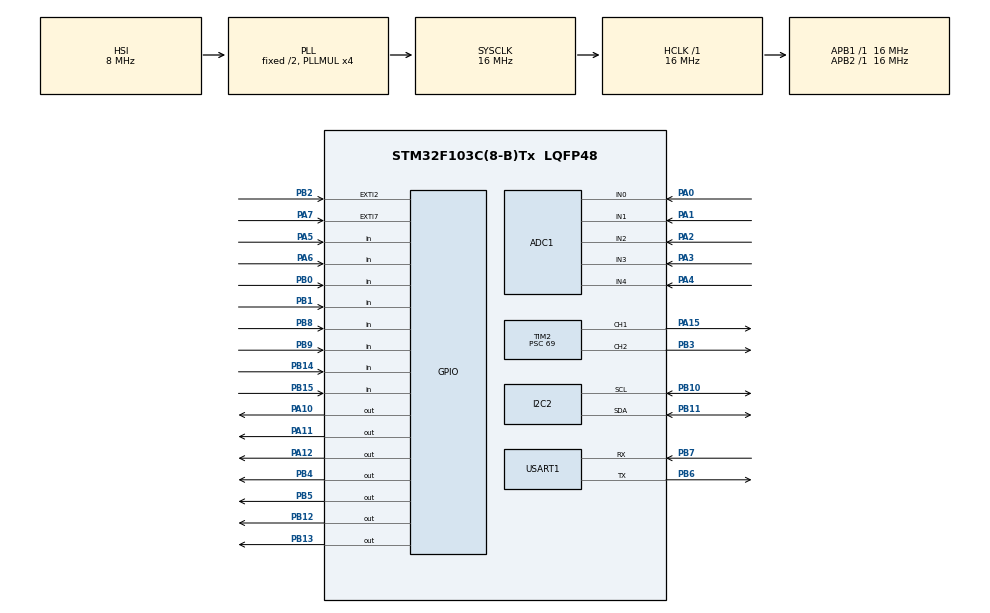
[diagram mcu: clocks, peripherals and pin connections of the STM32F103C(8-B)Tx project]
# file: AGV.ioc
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ADC1.Channel-0\#ChannelRegularConversion=ADC_CHANNEL_0
ADC1.Channel-1\#ChannelRegularConversion=ADC_CHANNEL_1
ADC1.Channel-2\#ChannelRegularConversion=ADC_CHANNEL_2
ADC1.Channel-3\#ChannelRegularConversion=ADC_CHANNEL_3
ADC1.Channel-4\#ChannelRegularConversion=ADC_CHANNEL_4
ADC1.ContinuousConvMode=ENABLE
ADC1.NbrOfConversion=5
ADC1.NbrOfConversionFlag=1
ADC1.Rank-0\#ChannelRegularConversion=1
ADC1.Rank-1\#ChannelRegularConversion=2
ADC1.Rank-2\#ChannelRegularConversion=3
ADC1.Rank-3\#ChannelRegularConversion=4
ADC1.Rank-4\#ChannelRegularConversion=5
ADC1.SamplingTime-0\#ChannelRegularConversion=ADC_SAMPLETIME_239CYCLES_5
ADC1.SamplingTime-1\#ChannelRegularConversion=ADC_SAMPLETIME_239CYCLES_5
ADC1.SamplingTime-2\#ChannelRegularConversion=ADC_SAMPLETIME_239CYCLES_5
ADC1.SamplingTime-3\#ChannelRegularConversion=ADC_SAMPLETIME_239CYCLES_5
ADC1.SamplingTime-4\#ChannelRegularConversion=ADC_SAMPLETIME_239CYCLES_5
ADC1.master=1
Dma.ADC1.0.Direction=DMA_PERIPH_TO_MEMORY
Dma.ADC1.0.Instance=DMA1_Channel1
Dma.ADC1.0.MemDataAlignment=DMA_MDATAALIGN_HALFWORD
Dma.ADC1.0.MemInc=DMA_MINC_ENABLE
Dma.ADC1.0.Mode=DMA_CIRCULAR
Dma.ADC1.0.PeriphDataAlignment=DMA_PDATAALIGN_HALFWORD
Dma.ADC1.0.PeriphInc=DMA_PINC_DISABLE
Dma.ADC1.0.Priority=DMA_PRIORITY_LOW
Dma.Request0=ADC1
Mcu.Family=STM32F1
Mcu.Name=STM32F103C(8-B)Tx
Mcu.Package=LQFP48
NVIC.DMA1_Channel1_IRQn=true\:0\:0\:false\:false\:true\:false\:true\:true
NVIC.EXTI2_IRQn=true\:0\:0\:false\:false\:true\:true\:true\:true
NVIC.EXTI9_5_IRQn=true\:0\:0\:false\:false\:true\:true\:true\:true
NVIC.PriorityGroup=NVIC_PRIORITYGROUP_4
NVIC.USART1_IRQn=true\:0\:0\:false\:false\:true\:true\:true\:true
PA0-WKUP.Signal=ADCx_IN0
PA1.Signal=ADCx_IN1
PA10.GPIO_PuPd=GPIO_PULLDOWN
PA10.Signal=GPIO_Output
PA11.GPIO_PuPd=GPIO_PULLDOWN
PA11.Signal=GPIO_Output
PA12.GPIO_PuPd=GPIO_PULLDOWN
PA12.Signal=GPIO_Output
PA13.Mode=Serial_Wire
PA13.Signal=SYS_JTMS-SWDIO
PA14.Mode=Serial_Wire
PA14.Signal=SYS_JTCK-SWCLK
PA15.Signal=S_TIM2_CH1_ETR
PA2.Signal=ADCx_IN2
PA3.Signal=ADCx_IN3
PA4.Signal=ADCx_IN4
PA5.GPIO_PuPd=GPIO_PULLDOWN
PA5.Signal=GPIO_Input
PA6.GPIO_PuPd=GPIO_PULLDOWN
PA6.Signal=GPIO_Input
PA7.GPIO_PuPd=GPIO_PULLDOWN
PA7.Signal=GPXTI7
PB0.GPIO_PuPd=GPIO_PULLDOWN
PB0.Signal=GPIO_Input
PB1.GPIO_PuPd=GPIO_PULLDOWN
PB1.Signal=GPIO_Input
PB10.Mode=I2C
PB10.Signal=I2C2_SCL
PB11.Mode=I2C
PB11.Signal=I2C2_SDA
PB12.GPIO_PuPd=GPIO_PULLUP
PB12.Signal=GPIO_Output
PB13.GPIO_ModeDefaultOutputPP=GPIO_MODE_OUTPUT_PP
PB13.GPIO_PuPd=GPIO_PULLUP
PB13.PinState=GPIO_PIN_RESET
PB13.Signal=GPIO_Output
PB14.GPIO_PuPd=GPIO_PULLDOWN
PB14.Signal=GPIO_Input
PB15.GPIO_PuPd=GPIO_PULLDOWN
PB15.Signal=GPIO_Input
PB2.GPIO_PuPd=GPIO_PULLDOWN
PB2.Signal=GPXTI2
PB3.Signal=S_TIM2_CH2
PB4.GPIO_PuPd=GPIO_PULLDOWN
PB4.Signal=GPIO_Output
PB5.GPIO_PuPd=GPIO_PULLDOWN
PB5.Signal=GPIO_Output
PB6.Mode=Asynchronous
PB6.Signal=USART1_TX
PB7.Mode=Asynchronous
PB7.Signal=USART1_RX
PB8.GPIO_PuPd=GPIO_PULLDOWN
PB8.Signal=GPIO_Input
PB9.GPIO_PuPd=GPIO_PULLDOWN
PB9.Signal=GPIO_Input
ProjectManager.HeapSize=0x200
ProjectManager.StackSize=0x400
ProjectManager.TargetToolchain=MDK-ARM V5.32
RCC.AHBFreq_Value=16000000
RCC.APB1Freq_Value=16000000
RCC.APB1TimFreq_Value=16000000
RCC.APB2Freq_Value=16000000
RCC.APB2TimFreq_Value=16000000
RCC.HCLKFreq_Value=16000000
RCC.PLLMUL=RCC_PLL_MUL4
RCC.SYSCLKFreq_VALUE=16000000
RCC.SYSCLKSource=RCC_SYSCLKSOURCE_PLLCLK
RCC.USBFreq_Value=16000000
SH.ADCx_IN0.0=ADC1_IN0,IN0
SH.ADCx_IN1.0=ADC1_IN1,IN1
SH.ADCx_IN2.0=ADC1_IN2,IN2
SH.ADCx_IN3.0=ADC1_IN3,IN3
SH.ADCx_IN4.0=ADC1_IN4,IN4
SH.S_TIM2_CH1_ETR.0=TIM2_CH1,PWM Generation1 CH1
SH.S_TIM2_CH2.0=TIM2_CH2,PWM Generation2 CH2
TIM2.Channel-PWM\ Generation1\ CH1=TIM_CHANNEL_1
TIM2.Channel-PWM\ Generation2\ CH2=TIM_CHANNEL_2
TIM2.Period=9999
TIM2.Prescaler=69
USART1.VirtualMode=VM_ASYNC
VP_TIM2_VS_ClockSourceINT.Mode=Internal
board=custom

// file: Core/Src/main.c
/* USER CODE BEGIN Header */
/**
  ******************************************************************************
  * @file           : main.c
  * @brief          : Main program body
  ******************************************************************************
  * @attention
  *
  * Copyright (c) 2024 STMicroelectronics.
  * All rights reserved.
  *
  * This software is licensed under terms that can be found in the LICENSE file
  * in the root directory of this software component.
  * If no LICENSE file comes with this software, it is provided AS-IS.
  *
  ******************************************************************************
  */
/* USER CODE END Header */
#include "main.h"

/* USER CODE BEGIN Includes */
#include "math.h"
#include "lcd.h"
/* USER CODE END Includes */

/* USER CODE BEGIN PTD */
typedef enum {AUTO = 0, NONE_AUTO_REMOTE, NONE_AUTO_WEB, STOP} state_t;
typedef enum {MOVE = 0, PROCESS} state_moving_t;
typedef enum {PASS_START = 0, LEFT_START} state_start_t;
typedef enum {START = 0, PICK_UP, SHIP, COME_BACK, COME_HOME} state_process_t;
typedef enum {PRE_UP = 0, WAIT_UP, OPERATE, WAIT_DONE_PICK, DONE_PICK} state_pick_t;
typedef enum {PROCESS_SHIP = 0, GO_SHIP, PUT_DOWN, DONE_SHIP} state_ship_t;
typedef enum {PROCESS_GO = 0, WAIT_CROSS} state_go_t;
typedef enum {PRE_DOWN = 0, WAIT_ROBOT, PROCESS_PUT_DOWN, DONE_PUT_DOWN} state_put_down_t;
typedef enum {PRE_CB = 0, GO_CB, DONE_CB} state_comeback_t;
typedef enum {PRE_CH = 0, GO_HOME, LEFT_CH, WAIT_DONE_CH, DONE_CH} state_come_home_t;
typedef enum {PRE_STOP = 0, CHECK_OUT, WAIT_OUT} state_stop_t;

typedef enum {CHECK_SIGN_LEFT = 0, PASS_LEFT_1, TURN_LEFT, PASS_LEFT_2} state_turn_left_intersection_t;
typedef enum {CHECK_SIGN_RIGHT = 0, TURN_RIGHT} state_turn_right_intersection_t;
typedef enum {CHECK_SIGN_CROSS = 0, PASS_CROSS_1, PASS_CROSS_2} state_cross_intersection_t;
typedef enum {CHECK_SIGN_BACK = 0, PASS_BACK_1, TURN_LEFT_1, TURN_LEFT_2, PASS_BACK_2} state_back_intersection_t;

typedef enum {PS1 = 0, TS1, RS1, RS2, PS2, TS2, RS3, RS4} list_station_t;
typedef enum {UP = 0, DOWN, LEFT, RIGHT, PAUSE} direct_t;

typedef enum {reset = 0, set} bool_t;

typedef struct{
	uint8_t goods_position[4];
	uint8_t goods_quantity;
	uint8_t goods_tmp;
	list_station_t goods_list[4];
	bool_t goods_side[4];
	bool_t goods_station[2];
} goods_infor_t;

typedef struct{
	uint8_t agv_position;
	uint8_t agv_side;
	direct_t agv_direct;
	direct_t agv_next_step_go;
	volatile bool_t agv_power;
} AGV_infor_t;

/* USER CODE END PTD */

/* USER CODE BEGIN PD */
#define line_sensor 	35
#define i_axis				5
#define j_axis				5
#define GPIO_SET_PIN(GPIOx, GPIO_Pin_x) (GPIOx -> ODR |= GPIO_Pin_x)
#define GPIO_RESET_PIN(GPIOx, GPIO_Pin_x) (GPIOx -> ODR &= ~GPIO_Pin_x)

/* USER CODE END PD */

ADC_HandleTypeDef hadc1;
DMA_HandleTypeDef hdma_adc1;

I2C_HandleTypeDef hi2c2;

TIM_HandleTypeDef htim2;

UART_HandleTypeDef huart1;

/* USER CODE BEGIN PV */
uint16_t distance_tmp;
volatile uint32_t systick_count;
volatile state_t state;
state_moving_t state_moving;
state_stop_t state_stop;
state_process_t process_state;
state_pick_t pick_state;
state_ship_t ship_state;
state_go_t state_go;
state_put_down_t state_put_down;
state_start_t start;
state_comeback_t state_comeback;
volatile state_come_home_t state_come_home;

state_cross_intersection_t cross_interection_state = CHECK_SIGN_CROSS;
state_turn_left_intersection_t turn_left_interection_state = CHECK_SIGN_LEFT;
state_turn_right_intersection_t turn_right_interection_state = CHECK_SIGN_RIGHT;
state_back_intersection_t state_back_intersection = CHECK_SIGN_BACK;

volatile bool_t robot;

goods_infor_t goods_infor;
AGV_infor_t	agv_infor;

uint8_t Rx;
uint8_t Tx;
direct_t direct;

uint16_t data[5], data_max[5], data_min[5]; // gia tri mau tu
uint16_t sensor[5]; // gia tri doc mau tu
uint8_t check[5];	// gia tri kiem tra mau tu

uint8_t tmp_check;

/* USER CODE END PV */

void SystemClock_Config(void);
static void MX_GPIO_Init(void);
static void MX_DMA_Init(void);
static void MX_ADC1_Init(void);
static void MX_TIM2_Init(void);
static void MX_I2C2_Init(void);
static void MX_USART1_UART_Init(void);
/* USER CODE BEGIN PFP */

void V_Go_Straight(void);
void V_Go_Back(void);
void V_Turn_Left(void);
void V_Turn_Right(void);
void V_Control_Remote(void);
void V_Control_Web(void);

uint8_t V_Check_Sensor_Init(void);
void V_Sensor_Init(void);
uint8_t V_Check_Sensor(void);

void V_Start(void);
void V_Pick_Up(void);
void V_Ship(void);
void V_Come_Back(void);
void V_Come_Home(void);

void V_Put_Down(void);

void V_Analysis_Goods_List(bool_t v_goods_side[4], uint8_t v_goods_position[4], list_station_t v_goods_list[4]);

void V_Cross_the_Intersection(void);
void V_Turn_Left_at_the_Intersection(void);
void V_Turn_Right_at_the_Intersection(void);
void V_Turn_Back_at_the_Intersection(void);

void V_Determine_Next_Step(void);
uint16_t V_Determine_Distance(uint8_t xo, uint8_t yo, uint8_t x1, uint8_t y1, direct_t v_direct);
void V_Remove_Duplicate(list_station_t v_goods_list[4],  uint8_t* goods_quantity);
void V_Remove_First_Goods(list_station_t v_goods_list[4],  uint8_t goods_quantity);
void V_GO(void);

/* USER CODE END PFP */

int main(void)
{

  /* MCU Configuration--------------------------------------------------------*/

  /* Reset of all peripherals, Initializes the Flash interface and the Systick. */
  HAL_Init();

  /* Configure the system clock */
  SystemClock_Config();

  /* Initialize all configured peripherals */
  MX_GPIO_Init();
  MX_DMA_Init();
  MX_ADC1_Init();
  MX_TIM2_Init();
  MX_I2C2_Init();
  MX_USART1_UART_Init();
  /* USER CODE BEGIN 2 */
	state = AUTO;
	state_moving = MOVE;
	state_stop = PRE_STOP;
	process_state = START;
	pick_state = PRE_UP;
	ship_state = PROCESS_SHIP;
	state_go = PROCESS_GO;
	state_put_down = PRE_DOWN;
	start = PASS_START;
	robot = set;
	agv_infor.agv_power = reset;
	state_comeback = PRE_CB;
	state_come_home = PRE_CH;
	goods_infor.goods_station[0] = set;
	goods_infor.goods_station[1] = set;

	cross_interection_state = CHECK_SIGN_CROSS;
	turn_left_interection_state = CHECK_SIGN_LEFT;
	turn_right_interection_state = CHECK_SIGN_RIGHT;
	V_Go_Straight();
	HAL_TIM_PWM_Start(&htim2, TIM_CHANNEL_1);
	HAL_TIM_PWM_Start(&htim2, TIM_CHANNEL_2);
	Lcd_Init();

	HAL_UART_Receive_IT(&huart1, &Rx, 1);
	Tx = '0';
	HAL_UART_Transmit(&huart1, &Tx, 1, 100);
	while(agv_infor.agv_power != set){}
	Tx = '1';
	HAL_UART_Transmit(&huart1, &Tx, 1, 100);
	do
	{
		Lcd_Send_String_XY(1, 4, "Sampling!");
		Lcd_Goto_XY(2,1);
		Lcd_Send_String("Wait, Please!");
		V_Sensor_Init();
	}
	while(V_Check_Sensor_Init());
	htim2.Instance -> CCR1 = 8771;
	htim2.Instance -> CCR2 = 8888;
	Tx = '2';
	HAL_UART_Transmit(&huart1, &Tx, 1, 100);
	Lcd_Send_String_XY(1, 3, "GOING TO TS1");
	HAL_Delay(500);
  /* USER CODE END 2 */

  /* Infinite loop */
  while (1)
  {

    /* USER CODE BEGIN 3 */
		switch(state)
		{
			case AUTO:
			{
				switch(state_moving)
				{
					case MOVE:
					{
						HAL_ADC_Start_DMA(&hadc1, (uint32_t *)data, 5);
						HAL_Delay(1);
						HAL_ADC_Stop_DMA(&hadc1);
						switch(V_Check_Sensor())
						{
							case 0:
								htim2.Instance -> CCR1 = 9868;	//AGV1			//AGV1: val1:val2 = 9868:9999
								htim2.Instance -> CCR2 = 9999;
								break;
							case 1:
								htim2.Instance -> CCR1 = 9868;	//AGV2
								htim2.Instance -> CCR2 = 8888;
								break;
							case 2:
								htim2.Instance -> CCR1 = 9868;	//AGV2
								htim2.Instance -> CCR2 = 5555;
								break;
							case 3:
								htim2.Instance -> CCR1 = 9868;	//AGV2
								htim2.Instance -> CCR2 = 3333;
								break;
							case 4:
								htim2.Instance -> CCR1 = 9868;	//AGV2
								htim2.Instance -> CCR2 = 1666;
								break;
							case 5:
								htim2.Instance -> CCR1 = 8771;	//AGV2
								htim2.Instance -> CCR2 = 9999;
								break;
							case 6:
								htim2.Instance -> CCR1 = 5482;	//AGV2
								htim2.Instance -> CCR2 = 9999;
								break;
							case 7:
								htim2.Instance -> CCR1 = 3289;	//AGV2
								htim2.Instance -> CCR2 = 9999;
								break;
							case 8:
								htim2.Instance -> CCR1 = 1644;	//AGV2
								htim2.Instance -> CCR2 = 9999;
								break;
							case 9:
								state_moving = PROCESS;
								break;
						}
						break;
					}
					case PROCESS:
					{
						switch (process_state)
						{
							case START:
								V_Start();
								break;
							case PICK_UP:
								V_Pick_Up();
								break;
							case SHIP:
								V_Ship();
									break;
							case COME_BACK:
								V_Come_Back();
								break;
							case COME_HOME:
								V_Come_Home();
						}
						break;
					}
				}
				break;
			}
			case NONE_AUTO_REMOTE:
				V_Control_Remote();
				break;
			case NONE_AUTO_WEB:
				V_Control_Web();
				break;
			case STOP:
			{
				switch(state_stop)
				{
					case PRE_STOP:
						htim2.Instance -> CCR1 = 0;
						htim2.Instance -> CCR2 = 0;
						systick_count = HAL_GetTick();
						state_stop = CHECK_OUT;
						break;
					case CHECK_OUT:
						if((GPIOB -> IDR  & GPIO_PIN_2) == GPIO_PIN_RESET)
						{
							if((HAL_GetTick() - systick_count) < 50)
							{
								state_stop = PRE_STOP;
								state = AUTO;
							}
							else
							{
								systick_count = HAL_GetTick();
								state_stop = WAIT_OUT;
							}
						}
						break;
					case 	WAIT_OUT:
						if((HAL_GetTick() - systick_count) > 1000)
						{
							state_stop = PRE_STOP;
							state = AUTO;
						}
						break;
				}
				break;
			}
		}

  }
  /* USER CODE END 3 */
}

void SystemClock_Config(void)
{
  RCC_OscInitTypeDef RCC_OscInitStruct = {0};
  RCC_ClkInitTypeDef RCC_ClkInitStruct = {0};
  RCC_PeriphCLKInitTypeDef PeriphClkInit = {0};

  /** Initializes the RCC Oscillators according to the specified parameters
  * in the RCC_OscInitTypeDef structure.
  */
  RCC_OscInitStruct.OscillatorType = RCC_OSCILLATORTYPE_HSI;
  RCC_OscInitStruct.HSIState = RCC_HSI_ON;
  RCC_OscInitStruct.HSICalibrationValue = RCC_HSICALIBRATION_DEFAULT;
  RCC_OscInitStruct.PLL.PLLState = RCC_PLL_ON;
  RCC_OscInitStruct.PLL.PLLSource = RCC_PLLSOURCE_HSI_DIV2;
  RCC_OscInitStruct.PLL.PLLMUL = RCC_PLL_MUL4;
  if (HAL_RCC_OscConfig(&RCC_OscInitStruct) != HAL_OK)
  {
    Error_Handler();
  }

  /** Initializes the CPU, AHB and APB buses clocks
  */
  RCC_ClkInitStruct.ClockType = RCC_CLOCKTYPE_HCLK|RCC_CLOCKTYPE_SYSCLK
                              |RCC_CLOCKTYPE_PCLK1|RCC_CLOCKTYPE_PCLK2;
  RCC_ClkInitStruct.SYSCLKSource = RCC_SYSCLKSOURCE_PLLCLK;
  RCC_ClkInitStruct.AHBCLKDivider = RCC_SYSCLK_DIV1;
  RCC_ClkInitStruct.APB1CLKDivider = RCC_HCLK_DIV1;
  RCC_ClkInitStruct.APB2CLKDivider = RCC_HCLK_DIV1;

  if (HAL_RCC_ClockConfig(&RCC_ClkInitStruct, FLASH_LATENCY_0) != HAL_OK)
  {
    Error_Handler();
  }
  PeriphClkInit.PeriphClockSelection = RCC_PERIPHCLK_ADC;
  PeriphClkInit.AdcClockSelection = RCC_ADCPCLK2_DIV2;
  if (HAL_RCCEx_PeriphCLKConfig(&PeriphClkInit) != HAL_OK)
  {
    Error_Handler();
  }
}

static void MX_ADC1_Init(void)
{

  ADC_ChannelConfTypeDef sConfig = {0};

  /** Common config
  */
  hadc1.Instance = ADC1;
  hadc1.Init.ScanConvMode = ADC_SCAN_ENABLE;
  hadc1.Init.ContinuousConvMode = ENABLE;
  hadc1.Init.DiscontinuousConvMode = DISABLE;
  hadc1.Init.ExternalTrigConv = ADC_SOFTWARE_START;
  hadc1.Init.DataAlign = ADC_DATAALIGN_RIGHT;
  hadc1.Init.NbrOfConversion = 5;
  if (HAL_ADC_Init(&hadc1) != HAL_OK)
  {
    Error_Handler();
  }

  /** Configure Regular Channel
  */
  sConfig.Channel = ADC_CHANNEL_0;
  sConfig.Rank = ADC_REGULAR_RANK_1;
  sConfig.SamplingTime = ADC_SAMPLETIME_239CYCLES_5;
  if (HAL_ADC_ConfigChannel(&hadc1, &sConfig) != HAL_OK)
  {
    Error_Handler();
  }

  /** Configure Regular Channel
  */
  sConfig.Channel = ADC_CHANNEL_1;
  sConfig.Rank = ADC_REGULAR_RANK_2;
  if (HAL_ADC_ConfigChannel(&hadc1, &sConfig) != HAL_OK)
  {
    Error_Handler();
  }

  /** Configure Regular Channel
  */
  sConfig.Channel = ADC_CHANNEL_2;
  sConfig.Rank = ADC_REGULAR_RANK_3;
  if (HAL_ADC_ConfigChannel(&hadc1, &sConfig) != HAL_OK)
  {
    Error_Handler();
  }

  /** Configure Regular Channel
  */
  sConfig.Channel = ADC_CHANNEL_3;
  sConfig.Rank = ADC_REGULAR_RANK_4;
  if (HAL_ADC_ConfigChannel(&hadc1, &sConfig) != HAL_OK)
  {
    Error_Handler();
  }

  /** Configure Regular Channel
  */
  sConfig.Channel = ADC_CHANNEL_4;
  sConfig.Rank = ADC_REGULAR_RANK_5;
  if (HAL_ADC_ConfigChannel(&hadc1, &sConfig) != HAL_OK)
  {
    Error_Handler();
  }

}

static void MX_I2C2_Init(void)
{

  hi2c2.Instance = I2C2;
  hi2c2.Init.ClockSpeed = 100000;
  hi2c2.Init.DutyCycle = I2C_DUTYCYCLE_2;
  hi2c2.Init.OwnAddress1 = 0;
  hi2c2.Init.AddressingMode = I2C_ADDRESSINGMODE_7BIT;
  hi2c2.Init.DualAddressMode = I2C_DUALADDRESS_DISABLE;
  hi2c2.Init.OwnAddress2 = 0;
  hi2c2.Init.GeneralCallMode = I2C_GENERALCALL_DISABLE;
  hi2c2.Init.NoStretchMode = I2C_NOSTRETCH_DISABLE;
  if (HAL_I2C_Init(&hi2c2) != HAL_OK)
  {
    Error_Handler();
  }

}

static void MX_TIM2_Init(void)
{

  TIM_ClockConfigTypeDef sClockSourceConfig = {0};
  TIM_MasterConfigTypeDef sMasterConfig = {0};
  TIM_OC_InitTypeDef sConfigOC = {0};

  htim2.Instance = TIM2;
  htim2.Init.Prescaler = 69;
  htim2.Init.CounterMode = TIM_COUNTERMODE_UP;
  htim2.Init.Period = 9999;
  htim2.Init.ClockDivision = TIM_CLOCKDIVISION_DIV1;
  htim2.Init.AutoReloadPreload = TIM_AUTORELOAD_PRELOAD_DISABLE;
  if (HAL_TIM_Base_Init(&htim2) != HAL_OK)
  {
    Error_Handler();
  }
  sClockSourceConfig.ClockSource = TIM_CLOCKSOURCE_INTERNAL;
  if (HAL_TIM_ConfigClockSource(&htim2, &sClockSourceConfig) != HAL_OK)
  {
    Error_Handler();
  }
  if (HAL_TIM_PWM_Init(&htim2) != HAL_OK)
  {
    Error_Handler();
  }
  sMasterConfig.MasterOutputTrigger = TIM_TRGO_RESET;
  sMasterConfig.MasterSlaveMode = TIM_MASTERSLAVEMODE_DISABLE;
  if (HAL_TIMEx_MasterConfigSynchronization(&htim2, &sMasterConfig) != HAL_OK)
  {
    Error_Handler();
  }
  sConfigOC.OCMode = TIM_OCMODE_PWM1;
  sConfigOC.Pulse = 0;
  sConfigOC.OCPolarity = TIM_OCPOLARITY_HIGH;
  sConfigOC.OCFastMode = TIM_OCFAST_DISABLE;
  if (HAL_TIM_PWM_ConfigChannel(&htim2, &sConfigOC, TIM_CHANNEL_1) != HAL_OK)
  {
    Error_Handler();
  }
  if (HAL_TIM_PWM_ConfigChannel(&htim2, &sConfigOC, TIM_CHANNEL_2) != HAL_OK)
  {
    Error_Handler();
  }
  HAL_TIM_MspPostInit(&htim2);

}

static void MX_USART1_UART_Init(void)
{

  huart1.Instance = USART1;
  huart1.Init.BaudRate = 115200;
  huart1.Init.WordLength = UART_WORDLENGTH_8B;
  huart1.Init.StopBits = UART_STOPBITS_1;
  huart1.Init.Parity = UART_PARITY_NONE;
  huart1.Init.Mode = UART_MODE_TX_RX;
  huart1.Init.HwFlowCtl = UART_HWCONTROL_NONE;
  huart1.Init.OverSampling = UART_OVERSAMPLING_16;
  if (HAL_UART_Init(&huart1) != HAL_OK)
  {
    Error_Handler();
  }

}

static void MX_DMA_Init(void)
{

  /* DMA controller clock enable */
  __HAL_RCC_DMA1_CLK_ENABLE();

  /* DMA interrupt init */
  /* DMA1_Channel1_IRQn interrupt configuration */
  HAL_NVIC_SetPriority(DMA1_Channel1_IRQn, 0, 0);
  HAL_NVIC_EnableIRQ(DMA1_Channel1_IRQn);

}

static void MX_GPIO_Init(void)
{
  GPIO_InitTypeDef GPIO_InitStruct = {0};

  /* GPIO Ports Clock Enable */
  __HAL_RCC_GPIOA_CLK_ENABLE();
  __HAL_RCC_GPIOB_CLK_ENABLE();

  /*Configure GPIO pin Output Level */
  HAL_GPIO_WritePin(GPIOB, GPIO_PIN_12|GPIO_PIN_13|GPIO_PIN_4|GPIO_PIN_5, GPIO_PIN_RESET);

  /*Configure GPIO pin Output Level */
  HAL_GPIO_WritePin(GPIOA, GPIO_PIN_10|GPIO_PIN_11|GPIO_PIN_12, GPIO_PIN_RESET);

  /*Configure GPIO pins : PA5 PA6 */
  GPIO_InitStruct.Pin = GPIO_PIN_5|GPIO_PIN_6;
  GPIO_InitStruct.Mode = GPIO_MODE_INPUT;
  GPIO_InitStruct.Pull = GPIO_PULLDOWN;
  HAL_GPIO_Init(GPIOA, &GPIO_InitStruct);

  /*Configure GPIO pin : PA7 */
  GPIO_InitStruct.Pin = GPIO_PIN_7;
  GPIO_InitStruct.Mode = GPIO_MODE_IT_RISING;
  GPIO_InitStruct.Pull = GPIO_PULLDOWN;
  HAL_GPIO_Init(GPIOA, &GPIO_InitStruct);

  /*Configure GPIO pins : PB0 PB1 PB14 PB15
                           PB8 PB9 */
  GPIO_InitStruct.Pin = GPIO_PIN_0|GPIO_PIN_1|GPIO_PIN_14|GPIO_PIN_15
                          |GPIO_PIN_8|GPIO_PIN_9;
  GPIO_InitStruct.Mode = GPIO_MODE_INPUT;
  GPIO_InitStruct.Pull = GPIO_PULLDOWN;
  HAL_GPIO_Init(GPIOB, &GPIO_InitStruct);

  /*Configure GPIO pin : PB2 */
  GPIO_InitStruct.Pin = GPIO_PIN_2;
  GPIO_InitStruct.Mode = GPIO_MODE_IT_RISING;
  GPIO_InitStruct.Pull = GPIO_PULLDOWN;
  HAL_GPIO_Init(GPIOB, &GPIO_InitStruct);

  /*Configure GPIO pins : PB12 PB13 */
  GPIO_InitStruct.Pin = GPIO_PIN_12|GPIO_PIN_13;
  GPIO_InitStruct.Mode = GPIO_MODE_OUTPUT_PP;
  GPIO_InitStruct.Pull = GPIO_PULLUP;
  GPIO_InitStruct.Speed = GPIO_SPEED_FREQ_LOW;
  HAL_GPIO_Init(GPIOB, &GPIO_InitStruct);

  /*Configure GPIO pins : PA10 PA11 PA12 */
  GPIO_InitStruct.Pin = GPIO_PIN_10|GPIO_PIN_11|GPIO_PIN_12;
  GPIO_InitStruct.Mode = GPIO_MODE_OUTPUT_PP;
  GPIO_InitStruct.Pull = GPIO_PULLDOWN;
  GPIO_InitStruct.Speed = GPIO_SPEED_FREQ_LOW;
  HAL_GPIO_Init(GPIOA, &GPIO_InitStruct);

  /*Configure GPIO pins : PB4 PB5 */
  GPIO_InitStruct.Pin = GPIO_PIN_4|GPIO_PIN_5;
  GPIO_InitStruct.Mode = GPIO_MODE_OUTPUT_PP;
  GPIO_InitStruct.Pull = GPIO_PULLDOWN;
  GPIO_InitStruct.Speed = GPIO_SPEED_FREQ_LOW;
  HAL_GPIO_Init(GPIOB, &GPIO_InitStruct);

  /* EXTI interrupt init*/
  HAL_NVIC_SetPriority(EXTI2_IRQn, 0, 0);
  HAL_NVIC_EnableIRQ(EXTI2_IRQn);

  HAL_NVIC_SetPriority(EXTI9_5_IRQn, 0, 0);
  HAL_NVIC_EnableIRQ(EXTI9_5_IRQn);

}

/* USER CODE BEGIN 4 */

void HAL_GPIO_EXTI_Callback(uint16_t GPIO_Pin)
{
	switch (GPIO_Pin)
	{
		case GPIO_PIN_7:
			if(state == AUTO)
			{
				state = NONE_AUTO_REMOTE;
				htim2.Instance -> CCR1 = 0;
				htim2.Instance -> CCR2 = 0;
			}
			else
				state = AUTO;
			break;
		case GPIO_PIN_2:
				state = STOP;
			break;
	}
}
void HAL_UART_RxCpltCallback(UART_HandleTypeDef *huart)
{
	HAL_UART_Receive_IT(&huart1, &Rx, 1);
	switch (Rx)
	{
		case '0':
			agv_infor.agv_power = set;	//POWER_ON
			Tx = 'E';
			HAL_UART_Transmit(&huart1, &Tx, 1, 100);
			break;
		case '1':
			agv_infor.agv_power = reset;	//POWER_OFF
			Tx = 'F';
			HAL_UART_Transmit(&huart1, &Tx, 1, 100);
			break;
		case '2':		//off the automation
			htim2.Instance -> CCR1 = 0;
			htim2.Instance -> CCR2 = 0;
			state = NONE_AUTO_WEB;
			break;
		case '3':			//on the automation
			state = AUTO;
			break;
		case '4':
			robot = reset;
			break;
		case '5':
			goods_infor.goods_list[goods_infor.goods_quantity] = RS1;
			goods_infor.goods_quantity ++;
			break;
		case '6':
			goods_infor.goods_list[goods_infor.goods_quantity] = RS2;
			goods_infor.goods_quantity ++;
			break;
		case '7':
			goods_infor.goods_list[goods_infor.goods_quantity] = RS3;
			goods_infor.goods_quantity ++;
			break;
		case '8':
			goods_infor.goods_list[goods_infor.goods_quantity] = RS4;
			goods_infor.goods_quantity ++;
			break;
		case '9':
			direct = UP;
			break;
		case 'A':
			direct = DOWN;
			break;
		case 'B':
			direct = LEFT;
			break;
		case 'C':
			direct = RIGHT;
			break;
		case 'D':
			direct = PAUSE;
			break;
		case 'E':
			goods_infor.goods_station[0] = reset;
			if((process_state == PICK_UP) && (goods_infor.goods_quantity == 0))
				pick_state = PRE_UP;
			break;
		case 'F':
			goods_infor.goods_station[1] = reset;
			if((process_state == PICK_UP) && (goods_infor.goods_quantity == 0))
				pick_state = PRE_UP;
			break;
		case 'G':
			goods_infor.goods_station[0] = set;
			break;
		case 'H':
			goods_infor.goods_station[1] = set;
			break;
	}
}
void V_Go_Straight(void)
{
	GPIO_RESET_PIN(GPIOA, GPIO_PIN_10);	//STB`
	GPIO_SET_PIN(GPIOA, GPIO_PIN_11);   //AIN1
	GPIO_RESET_PIN(GPIOA, GPIO_PIN_12);	//AIN2
	GPIO_SET_PIN(GPIOB, GPIO_PIN_4);   //BIN2
	GPIO_RESET_PIN(GPIOB, GPIO_PIN_5);	//BIN1
	GPIO_SET_PIN(GPIOA, GPIO_PIN_10);	//STB`
}
void V_Go_Back(void)
{
	GPIO_RESET_PIN(GPIOA, GPIO_PIN_10);	//STB`
	GPIO_RESET_PIN(GPIOA, GPIO_PIN_11);   //AIN1
	GPIO_SET_PIN(GPIOA, GPIO_PIN_12);	//AIN2
	GPIO_RESET_PIN(GPIOB, GPIO_PIN_4);   //BIN2
	GPIO_SET_PIN(GPIOB, GPIO_PIN_5);	//BIN1
	GPIO_SET_PIN(GPIOA, GPIO_PIN_10);	//STB`
}
void V_Turn_Left(void)
{
	htim2.Instance -> CCR1 = 8771;
	htim2.Instance -> CCR2 = 8888;
	HAL_Delay(600);
	GPIO_RESET_PIN(GPIOA, GPIO_PIN_10);	//STB`
	GPIO_RESET_PIN(GPIOA, GPIO_PIN_11);   //AIN1
	GPIO_SET_PIN(GPIOA, GPIO_PIN_12);	//AIN2
	GPIO_SET_PIN(GPIOA, GPIO_PIN_10);	//STB
	HAL_Delay(500);
	systick_count = HAL_GetTick();
	do
	{
		HAL_ADC_Start_DMA(&hadc1, (uint32_t *)data, 5);
		HAL_Delay(1);
		HAL_ADC_Stop_DMA(&hadc1);
		tmp_check = V_Check_Sensor();
	//	if((tmp > 4) && (tmp < 8))
		if((tmp_check == 0) || (tmp_check == 1) || (tmp_check == 5))
				break;
	} while((HAL_GetTick() - systick_count) < 500);
	GPIO_RESET_PIN(GPIOA, GPIO_PIN_10);	//STB`
	GPIO_SET_PIN(GPIOA, GPIO_PIN_11);   //AIN1
	GPIO_RESET_PIN(GPIOA, GPIO_PIN_12);	//AIN2
	GPIO_SET_PIN(GPIOA, GPIO_PIN_10);	//STB`
}
void V_Turn_Right(void)
{
	htim2.Instance -> CCR1 = 8771;
	htim2.Instance -> CCR2 = 8888;
	HAL_Delay(600);
	GPIO_RESET_PIN(GPIOA, GPIO_PIN_10);	//STB`
	GPIO_RESET_PIN(GPIOB, GPIO_PIN_4);   //BIN2
	GPIO_SET_PIN(GPIOB, GPIO_PIN_5);	//BIN1
	GPIO_SET_PIN(GPIOA, GPIO_PIN_10);	//STB`
	HAL_Delay(500);
	systick_count = HAL_GetTick();
	do
	{
		HAL_ADC_Start_DMA(&hadc1, (uint32_t *)data, 5);
		HAL_Delay(1);
		HAL_ADC_Stop_DMA(&hadc1);
		tmp_check = V_Check_Sensor();
		if((tmp_check == 0) || (tmp_check == 1) || (tmp_check == 5))
				break;
	} while((HAL_GetTick() - systick_count) < 500);
	GPIO_RESET_PIN(GPIOA, GPIO_PIN_10);	//STB`
	GPIO_SET_PIN(GPIOB, GPIO_PIN_4);   //BIN1
	GPIO_RESET_PIN(GPIOB, GPIO_PIN_5);	//BIN2
	GPIO_SET_PIN(GPIOA, GPIO_PIN_10);	//STB
}
void V_Control_Remote(void)
{
	if((GPIOB->IDR & GPIO_PIN_1) != GPIO_PIN_RESET)		//UP
	{
		if((GPIOA->IDR & GPIO_PIN_12) != GPIO_PIN_RESET)
			V_Go_Straight();
		htim2.Instance -> CCR1 = 9900;
		htim2.Instance -> CCR2 = 9999;
	}
	else if((GPIOA->IDR & GPIO_PIN_5) != GPIO_PIN_RESET)	//DOWN
	{
		if((GPIOA->IDR & GPIO_PIN_11) != GPIO_PIN_RESET)
			V_Go_Back();
		htim2.Instance -> CCR1 = 9900;
		htim2.Instance -> CCR2 = 9999;
	}
	else if((GPIOB->IDR & GPIO_PIN_0) != GPIO_PIN_RESET)	//LEFT
	{
		htim2.Instance -> CCR1 = 2192;
		htim2.Instance -> CCR2 = 9999;
	}
	else if((GPIOA->IDR & GPIO_PIN_6) != GPIO_PIN_RESET)		//RIGHT
	{
		htim2.Instance -> CCR1 = 9868;
		htim2.Instance -> CCR2 = 2222;
	}
	else
	{
		htim2.Instance -> CCR1 = 0;
		htim2.Instance -> CCR2 = 0;
	}
}
void V_Control_Web(void)
{
	if(direct == UP)		//UP
	{
		htim2.Instance -> CCR1 = 7675;
		htim2.Instance -> CCR2 = 7777;
	}
	else if(direct == DOWN)	//DOWN
	{
		V_Go_Back();
	}
	else if(direct == LEFT)	//LEFT
	{
		htim2.Instance -> CCR1 = 2192;
		htim2.Instance -> CCR2 = 7777;
	}
	else if(direct == RIGHT)		//RIGHT
	{
		htim2.Instance -> CCR1 = 7675;
		htim2.Instance -> CCR2 = 2222;
	}
	else if(direct == PAUSE)		//RIGHT
	{
		htim2.Instance -> CCR1 = 0;
		htim2.Instance -> CCR2 = 0;
	}
}
uint8_t V_Check_Sensor_Init(void)
{
	uint8_t i, k = 0;
	for(i = 0; i < 5; i++)
	{
		if(((data_max[i] - data_min[i]) > 15) || ((sensor[i] - data[i]) > 10) || ((data[i] -sensor[i]) > 10))
			k++;
		else check[i] = 1;
	}
	if(k == 0) return 0;
	else return 1;
}
void V_Sensor_Init(void)
{
	uint8_t i;
	for( i = 0; i < 5; i++)
	{
		if(check[i] == 0)
		{
			data_max[i] = 0;
			data_min[i] = ~0;
		}
	}
	systick_count = HAL_GetTick();
	while((HAL_GetTick() - systick_count) < 5000)
	{
		HAL_ADC_Start_DMA(&hadc1, (uint32_t *)data, 5);
		HAL_Delay(1);
		HAL_ADC_Stop_DMA(&hadc1);
		if((HAL_GetTick() - systick_count) > 1000)
		{
			for(i = 0; i < 5; i++)
			{
				if((check[i] == 0) && ((data[i] - data_min[i]) < 10) && ((data_max[i] - data[i]) < 10))
				{
					if(data[i] > data_max[i]) data_max[i] = data[i];
					if(data[i] < data_min[i]) data_min[i] = data[i];
				}
			}
		}
	}
	for(i = 0; i < 5; i++) sensor[i] = (55*data_max[i] + 45*data_min[i])/100;
}
uint8_t V_Check_Sensor(void)
{
	if ((data[0] > sensor[0] + line_sensor) && (data[1] > sensor[1] + line_sensor) && (data[2] > sensor[2] + line_sensor) && (data[3] > sensor[3] + line_sensor) && (data[4] > sensor[4] + line_sensor))
		return 9;
	else if ((data[0] > sensor[0] + line_sensor) && (data[1] > sensor[1] + line_sensor) && (data[2] > sensor[2] + line_sensor) && (data[3] > sensor[3] + line_sensor))
		return 9;
	else if ((data[4] > sensor[4] + line_sensor) && (data[1] > sensor[1] + line_sensor) && (data[2] > sensor[2] + line_sensor) && (data[3] > sensor[3] + line_sensor))
		return 9;
	else if ((data[1] > sensor[1] + line_sensor) && (data[2] > sensor[2] + line_sensor) && (data[3] > sensor[3] + line_sensor))
		return 0;
	else if ((data[0] > sensor[0] + line_sensor) && (data[1] > sensor[1] + line_sensor) && (data[2] > sensor[2] + line_sensor))
		return 2;
	else if ((data[2] > sensor[2] + line_sensor) && (data[3] > sensor[3] + line_sensor) && (data[4] > sensor[4] + line_sensor))
		return 6;
	else if ((data[1] > sensor[1] + line_sensor) && (data[2] > sensor[2] + line_sensor))
		return 1;
	else if ((data[0] > sensor[0] + line_sensor) && (data[1] > sensor[1] + line_sensor))
		return 3;
	else if ((data[2] > sensor[2] + line_sensor) && (data[3] > sensor[3] + line_sensor))
		return 5;
	else if ((data[3] > sensor[3] + line_sensor) && (data[4] > sensor[4] + line_sensor))
		return 7;
	else if (data[0] > sensor[0] + line_sensor)
		return 4;
	else if (data[4] > sensor[4] + line_sensor)
		return 8;
	//else return 1;
}

void V_Start(void)
{
	switch(start)
	{
		case PASS_START:
			htim2.Instance -> CCR1 = 9868;
			htim2.Instance -> CCR2 = 9999;
			HAL_Delay(300);
			start = LEFT_START;
			break;
		case LEFT_START:
			V_Turn_Left();
			agv_infor.agv_side = 0;
			agv_infor.agv_position = 0;
			goods_infor.goods_list[0] = TS1;
			agv_infor.agv_direct = UP;
			process_state = COME_BACK;
			start = PASS_START;
			break;
	}
	state_moving = MOVE;
}

void V_Pick_Up(void)
{
	switch(pick_state)
	{
		case PRE_UP:
			if((goods_infor.goods_station[0] == reset) && (goods_infor.goods_station[1] == reset))
			{
				process_state = COME_HOME;
				goods_infor.goods_list[0] = PS1;
			}
			else
			{
				if(agv_infor.agv_direct == RIGHT)
				{
					if(agv_infor.agv_side == 1)
					{
						if(goods_infor.goods_station[0] == reset)
						{
							process_state = COME_BACK;
							goods_infor.goods_list[0] = TS2;
						}
						else
						{
							pick_state = WAIT_UP;
						}
					}
					else
					{
						if(goods_infor.goods_station[1] == reset)
						{
							process_state = COME_BACK;
							goods_infor.goods_list[0] = TS1;
						}
						else
						{
							pick_state = WAIT_UP;
						}
					}
				}
				else
				{
					if(agv_infor.agv_side == 0)
					{
						if(goods_infor.goods_station[0] == reset)
						{
							process_state = COME_BACK;
							goods_infor.goods_list[0] = TS2;
						}
						else
						{
							pick_state = WAIT_UP;
						}
					}
					else
					{
						if(goods_infor.goods_station[1] == reset)
						{
							process_state = COME_BACK;
							goods_infor.goods_list[0] = TS1;
						}
						else
						{
							pick_state = WAIT_UP;
						}
					}
				}
			}
			break;
		case WAIT_UP:
			htim2.Instance -> CCR1 = 0;
			htim2.Instance -> CCR2 = 0;
			Lcd_Send_String_XY(1, 4, "PICKING!");
			Lcd_Goto_XY(2, 0);
			if(agv_infor.agv_direct == LEFT)
			{
				if(agv_infor.agv_side == 0)
					Tx = '3';
				else
					Tx = '4';
			}
			else
			{
				if(agv_infor.agv_side == 1)
					Tx = '3';
				else
					Tx = '4';
			}
			HAL_UART_Transmit(&huart1, &Tx, 1, 100);
			pick_state = OPERATE;
			break;
		case	OPERATE:
		{
			if(robot == reset)
			{
				goods_infor.goods_tmp = 0;
				V_Remove_Duplicate(goods_infor.goods_list, &goods_infor.goods_quantity);
				V_Analysis_Goods_List(goods_infor.goods_side, goods_infor.goods_position, goods_infor.goods_list);
				pick_state = WAIT_DONE_PICK;
			}
			else
			{
				if(goods_infor.goods_quantity > goods_infor.goods_tmp)
				{
					switch (goods_infor.goods_list[goods_infor.goods_tmp])
					{
						case RS1:
							Lcd_Send_String("-RS1");
							break;
						case RS2:
							Lcd_Send_String("-RS2");
							break;
						case RS3:
							Lcd_Send_String("-RS3");
							break;
						case RS4:
							Lcd_Send_String("-RS4");
							break;
						default:
							break;
					}
					goods_infor.goods_tmp = goods_infor.goods_quantity;
				}
			}
			break;
		}
		case WAIT_DONE_PICK:	//finish receiving
//			Lcd_Send_String_XY(1, 0, "FINISH RECEIVING");
//			systick_count = HAL_GetTick();
			pick_state = DONE_PICK;
			robot = set;
			break;
		case DONE_PICK:
//			if((HAL_GetTick() - systick_count) > 1500)
			{
				Lcd_Clear_Display();
				pick_state = PRE_UP;
				process_state = SHIP;
			}
			break;
	}
}

void V_Analysis_Goods_List(bool_t v_goods_side[4], uint8_t v_goods_position[4], list_station_t v_goods_list[4])
{
	for(uint8_t x = 0; x < goods_infor.goods_quantity; x++)
	{
		v_goods_position[x] = v_goods_list[x] & 3;
		v_goods_side[x] = 	(bool_t)((v_goods_list[x] & 4) >> 2);
	}
}

uint16_t V_Determine_Distance(uint8_t xo, uint8_t yo, uint8_t x1, uint8_t y1, direct_t v_direct)
{
	uint16_t result;
	if(v_direct == LEFT)
		result = pow((int16_t)((xo*i_axis + 9) - x1*i_axis), 2) + pow((int16_t)((yo*j_axis + 2) - y1*j_axis), 2);
	else
		result = pow((int16_t)(((xo - 1)*i_axis - 1) - x1*i_axis), 2) + pow((int16_t)((yo*j_axis + 7) - y1*j_axis), 2);
	return result;
}
void V_Remove_Duplicate(list_station_t v_goods_list[4],  uint8_t* goods_quantity)
{
	uint8_t x, y, z;
	for(x = 0; x < *goods_quantity; x++)
	{
		for(y = x + 1; y < *goods_quantity; y++)
		{
			if(v_goods_list[x] == v_goods_list[y])
			{
				for(z = y; z < *goods_quantity - 1; z++)
				{
					v_goods_list[z] = v_goods_list[z+1];
				}
				(*goods_quantity)--;
				y--;
			}
		}

	}
}
void V_Remove_First_Goods(list_station_t v_goods_list[4],  uint8_t goods_quantity)
{
	for(uint8_t x = 0;  x < goods_quantity; x++)
		v_goods_list[x] = v_goods_list[x+1];
}

void V_Cross_the_Intersection(void)
{
	switch(cross_interection_state)
	{
		case CHECK_SIGN_CROSS:
			{
				htim2.Instance -> CCR1 = 9868;
				htim2.Instance -> CCR2 = 9999;
				HAL_Delay(300);
				cross_interection_state = PASS_CROSS_1;
			}
			break;
		case PASS_CROSS_1:
			htim2.Instance -> CCR1 = 9868;
			htim2.Instance -> CCR2 = 9999;
			HAL_Delay(300);
			cross_interection_state = PASS_CROSS_2;
			break;
		case PASS_CROSS_2:
			htim2.Instance -> CCR1 = 9868;
			htim2.Instance -> CCR2 = 9999;
			HAL_Delay(300);
			if(process_state == COME_HOME)
			{
				if((agv_infor.agv_position == 1)  && (agv_infor.agv_side == 1))
				{
					state_come_home = LEFT_CH;
				}
			}
			else if(agv_infor.agv_position == goods_infor.goods_position[0])
			{
				if(process_state == SHIP)
				{
					ship_state = PUT_DOWN;
				}
				else
					state_comeback = DONE_CB;
			}
			state_go = PROCESS_GO;
			cross_interection_state = CHECK_SIGN_CROSS;
			break;
	}
}

void V_Back_the_Intersection(void)
{
	switch(state_back_intersection)
	{
		case CHECK_SIGN_BACK:
			{
				htim2.Instance -> CCR1 = 9868;
				htim2.Instance -> CCR2 = 9999;
				HAL_Delay(300);
				state_back_intersection = PASS_BACK_1;
			}
			break;
		case PASS_BACK_1:
			htim2.Instance -> CCR1 = 9868;
			htim2.Instance -> CCR2 = 9999;
			HAL_Delay(300);
			state_back_intersection = TURN_LEFT_1;
			break;
		case TURN_LEFT_1:
			V_Turn_Left();
			state_back_intersection = TURN_LEFT_2;
			break;
		case TURN_LEFT_2:
			V_Turn_Left();
			state_back_intersection = PASS_BACK_2;
			break;
		case PASS_BACK_2:
			htim2.Instance -> CCR1 = 9868;
			htim2.Instance -> CCR2 = 9999;
			HAL_Delay(300);
			state_go = PROCESS_GO;
			state_back_intersection = CHECK_SIGN_BACK;
			break;
	}
}

void V_Turn_Left_at_the_Intersection(void)
{
	switch(turn_left_interection_state)
	{
		case CHECK_SIGN_LEFT:
			{
				htim2.Instance -> CCR1 = 9868;
				htim2.Instance -> CCR2 = 9999;
				HAL_Delay(300);
				turn_left_interection_state = PASS_LEFT_1;
			}
			break;
		case PASS_LEFT_1:
			htim2.Instance -> CCR1 = 9868;
			htim2.Instance -> CCR2 = 9999;
			HAL_Delay(300);
			turn_left_interection_state = TURN_LEFT;
			break;
		case TURN_LEFT:
			V_Turn_Left();
			turn_left_interection_state = PASS_LEFT_2;
			break;
		case PASS_LEFT_2:
			htim2.Instance -> CCR1 = 9868;
			htim2.Instance -> CCR2 = 9999;
			HAL_Delay(300);
			if(process_state == COME_HOME)
			{
				if((agv_infor.agv_position == 1)  && (agv_infor.agv_side == 1))
				{
					state_come_home = LEFT_CH;
				}
			}
			else if(agv_infor.agv_position == goods_infor.goods_position[0])
			{
				if((agv_infor.agv_direct == LEFT) && (agv_infor.agv_side == goods_infor.goods_side[0]))
				{
					if(process_state == SHIP)
						ship_state = PUT_DOWN;
					else
						state_comeback = DONE_CB;
				}
				else if((agv_infor.agv_direct == RIGHT) && (agv_infor.agv_side == (goods_infor.goods_side[0]) + 1))
				{
					if(process_state == SHIP)
						ship_state = PUT_DOWN;
					else
						state_comeback = DONE_CB;
				}
			}

			state_go = PROCESS_GO;
			turn_left_interection_state = CHECK_SIGN_LEFT;
			break;

	}
}

void V_Turn_Right_at_the_Intersection(void)
{
	switch(turn_right_interection_state)
	{
		case CHECK_SIGN_RIGHT:
			{
				htim2.Instance -> CCR1 = 9868;
				htim2.Instance -> CCR2 = 9999;
				HAL_Delay(300);
				turn_right_interection_state = TURN_RIGHT;
			}
			break;
		case TURN_RIGHT:
			V_Turn_Right();
			if(process_state == COME_HOME)
			{
				if((agv_infor.agv_position == 1)  && (agv_infor.agv_side == 1))
				{
					state_come_home = LEFT_CH;
				}
			}
			else if(agv_infor.agv_position == goods_infor.goods_position[0])
			{
				if((agv_infor.agv_direct == LEFT) && (agv_infor.agv_side == goods_infor.goods_side[0]))
				{
					if(process_state == SHIP)
						ship_state = PUT_DOWN;
					else
						state_comeback = DONE_CB;
				}
				else if((agv_infor.agv_direct == RIGHT) && (agv_infor.agv_side == (goods_infor.goods_side[0]) + 1))
				{
					if(process_state == SHIP)
						ship_state = PUT_DOWN;
					else
						state_comeback = DONE_CB;
				}
			}
			state_go = PROCESS_GO;
			turn_right_interection_state = CHECK_SIGN_RIGHT;
			break;
	}
}

void V_Put_Down(void)
{
	switch(state_put_down)
	{
		case PRE_DOWN:
			htim2.Instance -> CCR1 = 0;
			htim2.Instance -> CCR2 = 0;
			if(agv_infor.agv_direct == LEFT)
			{
				if(agv_infor.agv_side == 0)
				{
					if(agv_infor.agv_position == 2)
						Tx = '5';
					else
						Tx = '6';
				}
				else
				{
					if(agv_infor.agv_position == 2)
						Tx = '7';
					else
						Tx = '8';
				}
			}
			else
			{
				if(agv_infor.agv_side == 1)
				{
					if(agv_infor.agv_position == 2)
						Tx = '5';
					else
						Tx = '6';
				}
				else
				{
					if(agv_infor.agv_position == 2)
						Tx = '7';
					else
						Tx = '8';
				}
			}
			HAL_UART_Transmit(&huart1, &Tx, 1, 100);
			Lcd_Send_String_XY(1, 2, "PUTTING DOWN");
			state_put_down = WAIT_ROBOT;
			break;
		case WAIT_ROBOT:
			if(robot == reset)
				state_put_down = PROCESS_PUT_DOWN;
			break;
		case PROCESS_PUT_DOWN:
//			Lcd_Send_String_XY(1, 2, "DONE PUT DOWN");
//			systick_count = HAL_GetTick();
			robot = set;
			goods_infor.goods_quantity--;
			V_Remove_First_Goods(goods_infor.goods_list, goods_infor.goods_quantity);
			V_Analysis_Goods_List(goods_infor.goods_side, goods_infor.goods_position, goods_infor.goods_list);
			state_put_down = DONE_PUT_DOWN;
			break;
		case DONE_PUT_DOWN:
//			if((HAL_GetTick() -  systick_count) > 1500)
			{
				Lcd_Clear_Display();
				state_put_down = PRE_DOWN;
				ship_state = PROCESS_SHIP;
			}
			break;
	}
}
void V_Determine_Next_Step(void)
{
	switch(agv_infor.agv_direct)
	{
		case UP:
			if(goods_infor.goods_position[0] > (agv_infor.agv_position + 1))
			{
				agv_infor.agv_next_step_go = UP;
			}
			else
			{
				if(goods_infor.goods_side[0] < agv_infor.agv_side)
				{
					agv_infor.agv_next_step_go = RIGHT;
					agv_infor.agv_direct = RIGHT;
				}
				else
				{
					agv_infor.agv_direct = LEFT;
					agv_infor.agv_next_step_go = LEFT;
				}
			}
			agv_infor.agv_position++;
			break;
		case DOWN:
			if((goods_infor.goods_position[0] + 1)< agv_infor.agv_position)
			{
				if(process_state == COME_HOME)
				{
					if((goods_infor.goods_position[0] + 2) < agv_infor.agv_position)
						agv_infor.agv_next_step_go = UP;
					else if((goods_infor.goods_side[0] + 1) < agv_infor.agv_side)
					{
						agv_infor.agv_next_step_go = LEFT;
						agv_infor.agv_direct = RIGHT;
					}
					else if(goods_infor.goods_side[0] == agv_infor.agv_side)
					{
						agv_infor.agv_next_step_go = RIGHT;
						agv_infor.agv_direct = LEFT;
					}
				}
				else
					agv_infor.agv_next_step_go = UP;
			}
			else
			{
				if(goods_infor.goods_side[0] < agv_infor.agv_side)
				{
					agv_infor.agv_next_step_go = LEFT;
					agv_infor.agv_direct = RIGHT;
				}
				else
				{
					agv_infor.agv_direct = LEFT;
					agv_infor.agv_next_step_go = RIGHT;
				}
			}
			agv_infor.agv_position--;
			break;
		case LEFT:
			if(goods_infor.goods_position[0] == agv_infor.agv_position)
			{
				if(goods_infor.goods_side[0] > agv_infor.agv_side)
					agv_infor.agv_next_step_go = UP;
				else
				{
					agv_infor.agv_direct = RIGHT;
					agv_infor.agv_next_step_go = DOWN;
				}
			}
			else if(goods_infor.goods_position[0] < agv_infor.agv_position)
			{
				if((process_state == COME_HOME) && (goods_infor.goods_side[0] < agv_infor.agv_side) && ( agv_infor.agv_position == 1))
				{
					agv_infor.agv_next_step_go = DOWN;
					agv_infor.agv_direct = RIGHT;
				}
				else
				{
				agv_infor.agv_next_step_go = LEFT;
				agv_infor.agv_direct = DOWN;
				}
			}
			else
			{
				goods_infor.goods_tmp = 0;
				tmp_check = 0;
				for(uint8_t x = 1; x < goods_infor.goods_quantity; x++)
				{
					if(goods_infor.goods_side[0] != goods_infor.goods_side[x])
						goods_infor.goods_tmp = 1;
					else
						tmp_check = 1;
				}
				if(goods_infor.goods_side[0] > agv_infor.agv_side)
				{
					if(((goods_infor.goods_tmp == 1) && (tmp_check == 0)) || (goods_infor.goods_quantity == 1))
					{
						agv_infor.agv_next_step_go = UP;
						tmp_check = 10;
					}
					else
					{
						agv_infor.agv_next_step_go = RIGHT;
						agv_infor.agv_direct = UP;
					}
				}
				else
				{
					agv_infor.agv_next_step_go = RIGHT;
					agv_infor.agv_direct = UP;
				}
			}
			agv_infor.agv_side++;
			break;
		case RIGHT:
			if(goods_infor.goods_position[0] == agv_infor.agv_position)
			{
				if(goods_infor.goods_side[0] < agv_infor.agv_side)
					agv_infor.agv_next_step_go = UP;
				else
				{
					agv_infor.agv_direct = LEFT;
					agv_infor.agv_next_step_go = DOWN;
				}
			}
			else if(goods_infor.goods_position[0] < agv_infor.agv_position)
			{
				if((process_state == COME_HOME) && ((goods_infor.goods_side[0] + 1) >= agv_infor.agv_side) && ( agv_infor.agv_position == 1))
				{
					agv_infor.agv_next_step_go = DOWN;
					agv_infor.agv_direct = LEFT;
				}
				else
				{
					agv_infor.agv_next_step_go = RIGHT;
					agv_infor.agv_direct = DOWN;
				}
			}
			else
			{
				goods_infor.goods_tmp = 0;
				tmp_check = 0;
				bool_t tmp_check_x = reset;
				for(uint8_t x = 1; x < goods_infor.goods_quantity; x++)
				{
					if(goods_infor.goods_side[0] > goods_infor.goods_side[x])
						goods_infor.goods_tmp = 1;
					else if(goods_infor.goods_side[0] < goods_infor.goods_side[x])
						tmp_check_x = set;
					else
						tmp_check = 1;
				}
				if(((goods_infor.goods_side[0] + 1) < agv_infor.agv_side) || (tmp_check_x == set))
				{
					agv_infor.agv_next_step_go = LEFT;
					agv_infor.agv_direct = UP;
				}
				else if(((goods_infor.goods_tmp == 1) && (tmp_check == 0)) || ((goods_infor.goods_quantity == 1) && ((agv_infor.agv_side == 2) || (agv_infor.agv_side == goods_infor.goods_side[0]))))
				{
					agv_infor.agv_next_step_go = DOWN;
					agv_infor.agv_direct = LEFT;
				}
				else
				{
					agv_infor.agv_next_step_go = LEFT;
					agv_infor.agv_direct = UP;
				}
			}
			agv_infor.agv_side--;
			break;
		default:
			break;
	}
}
void V_GO(void)
{
	switch(state_go)
	{
		case PROCESS_GO:
		{
			V_Determine_Next_Step();
			state_go = WAIT_CROSS;
			break;
		}
		case WAIT_CROSS:
		{
			state_moving = MOVE;
			switch(agv_infor.agv_next_step_go)
			{
				case UP:
					V_Cross_the_Intersection();
					break;
				case DOWN:
					V_Back_the_Intersection();
					break;
				case LEFT:
					V_Turn_Left_at_the_Intersection();
					break;
				case RIGHT:
					V_Turn_Right_at_the_Intersection();
					break;
				default:
					break;
			}
			break;
		}
	}
}
void V_Ship(void)
{
	uint16_t distance_min;
	list_station_t tmp;
	uint8_t tmp_rs_2, tmp_rs_3, tmp_rs_4;
	bool_t check_rs1 = reset, check_rs2 = reset, check_rs3 = reset, check_rs4 = reset;
	switch (ship_state)
	{
		case PROCESS_SHIP:
		{
			if(goods_infor.goods_quantity == 0)
				ship_state = DONE_SHIP;
			else
			{
				if(goods_infor.goods_quantity > 1)
				{
					distance_min = 255;
					for(uint8_t x = 0; x < goods_infor.goods_quantity; x++)
					{
						if(agv_infor.agv_position == 1)
						{
							switch(goods_infor.goods_list[x])
							{
								case RS1:
									check_rs1 = set;
									break;
								case RS2:
									tmp_rs_2 = x;
									check_rs2 = set;
									break;
								case RS3:
									tmp_rs_3 = x;
									check_rs3 = set;
									break;
								case RS4:
									tmp_rs_4 = x;
									check_rs4 = set;
									break;
								default:
									break;
							}
						}
						distance_tmp = V_Determine_Distance(agv_infor.agv_side, agv_infor.agv_position, goods_infor.goods_side[x], goods_infor.goods_position[x], agv_infor.agv_direct);
						if(distance_tmp < distance_min)
						{
								goods_infor.goods_tmp = x;
								distance_min = distance_tmp;
						}
					}
					if(agv_infor.agv_position == 1)
					{
						if(agv_infor.agv_direct == LEFT)
						{
							if(agv_infor.agv_side == 0)
							{
								if(goods_infor.goods_quantity == 3)
								{
									if(check_rs4 == reset)
										goods_infor.goods_tmp = tmp_rs_2;
								}
								else if(goods_infor.goods_quantity == 2)
								{
									if((check_rs1 == set) && (check_rs2 == set))
										goods_infor.goods_tmp = tmp_rs_2;
								}
							}
							else if(agv_infor.agv_side == 1)
							{
								if(goods_infor.goods_quantity == 4)
									goods_infor.goods_tmp = tmp_rs_4;
								else if(goods_infor.goods_quantity == 3)
								{
									if(check_rs4 == set)
										goods_infor.goods_tmp = tmp_rs_4;
								}
								else if(goods_infor.goods_quantity == 2)
								{
									if((check_rs3 == set) && (check_rs4 == set))
										goods_infor.goods_tmp = tmp_rs_4;
									else if((check_rs1 == set) && (check_rs2 == set))
										goods_infor.goods_tmp = tmp_rs_2;
								}
							}
						}
						else if(agv_infor.agv_direct == RIGHT)
						{
							if(agv_infor.agv_side == 2)
							{
								if(goods_infor.goods_quantity == 2)
								{
									if((check_rs1 == set) && (check_rs2 == set))
										goods_infor.goods_tmp = tmp_rs_2;
								}
							}
							else if(agv_infor.agv_side == 1)
							{
								if(goods_infor.goods_quantity == 3)
								{
									if(check_rs1 == reset)
										goods_infor.goods_tmp = tmp_rs_3;
								}
							}
						}
					}
					tmp = goods_infor.goods_list[0];
					goods_infor.goods_list[0] = goods_infor.goods_list[goods_infor.goods_tmp];
					goods_infor.goods_list[goods_infor.goods_tmp] = tmp;
					V_Analysis_Goods_List(goods_infor.goods_side, goods_infor.goods_position, goods_infor.goods_list);

				}
				switch(goods_infor.goods_list[0])
				{
					case RS1:
						Lcd_Send_String_XY(1, 3, "GOING TO RS1");
						Tx = 'K';
						break;
					case RS2:
						Lcd_Send_String_XY(1, 3, "GOING TO RS2");
						Tx = 'L';
						break;
					case RS3:
						Lcd_Send_String_XY(1, 3, "GOING TO RS3");
						Tx = 'M';
						break;
					case RS4:
						Lcd_Send_String_XY(1, 3, "GOING TO RS4");
						Tx = 'N';
						break;
					default:
						break;
				}
				HAL_UART_Transmit(&huart1, &Tx, 1, 100);
				Tx = 'D';
				HAL_UART_Transmit(&huart1, &Tx, 1, 100);
				ship_state = GO_SHIP;
			}
			break;
		}
		case GO_SHIP:
		{
			V_GO();
			break;
		}
		case PUT_DOWN:
			V_Put_Down();
			break;
		case DONE_SHIP:
			if(((goods_infor.goods_station[0] == reset) && (goods_infor.goods_station[1] == reset)) || (agv_infor.agv_power == reset))
			{
				process_state = COME_HOME;
				goods_infor.goods_list[0] = PS1;
			}
			else
			{
				process_state = COME_BACK;
				if((goods_infor.goods_station[0] == set) && (goods_infor.goods_station[1] == set))
				{
					if(((agv_infor.agv_direct == RIGHT) && (agv_infor.agv_side == 1)))
						goods_infor.goods_list[0] = TS1;
					else
						goods_infor.goods_list[0] = TS2;
				}
				else if(goods_infor.goods_station[0] == set)
					goods_infor.goods_list[0] = TS1;
				else
					goods_infor.goods_list[0] = TS2;
			}
			goods_infor.goods_quantity = 0;
			ship_state = PROCESS_SHIP;
			break;
	 }
}

void V_Come_Back(void)
{
	switch(state_comeback)
	{
		case PRE_CB:
			goods_infor.goods_position[0] = goods_infor.goods_list[0] & 3;
			goods_infor.goods_side[0] = (bool_t)((goods_infor.goods_list[0] & 4) >> 2);
			switch(goods_infor.goods_list[0])
			{
				case TS1:
					Lcd_Send_String_XY(1, 3, "GOING TO TS1");
					Tx = 'H';
					break;
				case TS2:
					Lcd_Send_String_XY(1, 3, "GOING TO TS2");
					Tx = 'I';
					break;
				default:
					break;
			}
			HAL_UART_Transmit(&huart1, &Tx, 1, 100);
			Tx = '9';
			HAL_UART_Transmit(&huart1, &Tx, 1, 100);
			state_comeback = GO_CB;
			break;
		case GO_CB:
			V_GO();
			break;
		case DONE_CB:
			process_state = PICK_UP;
			state_comeback = PRE_CB;
			break;
	}
}
void V_Come_Home(void)
{
	switch(state_come_home)
	{
		case PRE_CH:
			goods_infor.goods_position[0] = goods_infor.goods_list[0] & 3;
			goods_infor.goods_side[0] = (bool_t)((goods_infor.goods_list[0] & 4) >> 2);
			Lcd_Send_String_XY(1, 4, "GOING TO");
			Lcd_Goto_XY(2, 2);
			Lcd_Send_String("THE PARKING");
			Tx = 'G';
			HAL_UART_Transmit(&huart1, &Tx, 1, 100);
			Tx = 'A';
			HAL_UART_Transmit(&huart1, &Tx, 1, 100);
			state_come_home = GO_HOME;
			break;
		case GO_HOME:
			V_GO();
			break;
		case LEFT_CH:
			state_moving = MOVE;
			state_come_home = WAIT_DONE_CH;
			htim2.Instance -> CCR1 = 9868;
			htim2.Instance -> CCR2 = 9999;
			HAL_Delay(300);
			break;
		case WAIT_DONE_CH:
			V_Turn_Left();
			state_moving = MOVE;
			state_come_home = DONE_CH;
			break;
		case DONE_CH:
			htim2.Instance -> CCR1 = 9868;
			htim2.Instance -> CCR2 = 9999;
			HAL_Delay(1000);
			GPIO_RESET_PIN(GPIOA, GPIO_PIN_10);	//STB`
			HAL_TIM_PWM_Stop(&htim2, TIM_CHANNEL_1);
			HAL_TIM_PWM_Stop(&htim2, TIM_CHANNEL_2);
			break;
	}
}

/* USER CODE END 4 */

void Error_Handler(void)
{
  __disable_irq();
  while (1)
  {
  }
}
